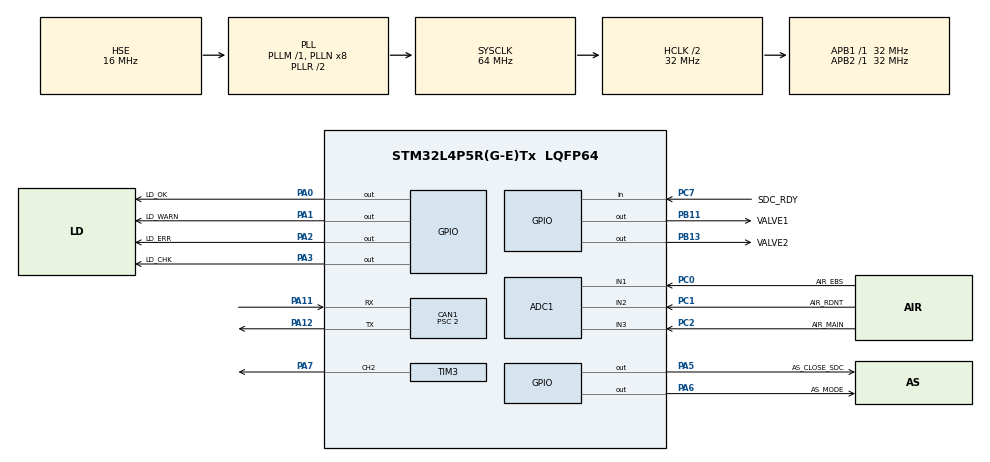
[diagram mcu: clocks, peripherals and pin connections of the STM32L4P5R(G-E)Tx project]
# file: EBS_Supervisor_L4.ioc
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ADC1.Channel-0\#ChannelRegularConversion=ADC_CHANNEL_1
ADC1.Channel-1\#ChannelRegularConversion=ADC_CHANNEL_2
ADC1.Channel-2\#ChannelRegularConversion=ADC_CHANNEL_3
ADC1.ContinuousConvMode=ENABLE
ADC1.DMAContinuousRequests=ENABLE
ADC1.EOCSelection=ADC_EOC_SEQ_CONV
ADC1.NbrOfConversion=3
ADC1.NbrOfConversionFlag=1
ADC1.OffsetNumber-0\#ChannelRegularConversion=ADC_OFFSET_NONE
ADC1.OffsetNumber-1\#ChannelRegularConversion=ADC_OFFSET_NONE
ADC1.OffsetNumber-2\#ChannelRegularConversion=ADC_OFFSET_NONE
ADC1.Overrun=ADC_OVR_DATA_OVERWRITTEN
ADC1.Rank-0\#ChannelRegularConversion=1
ADC1.Rank-1\#ChannelRegularConversion=2
ADC1.Rank-2\#ChannelRegularConversion=3
ADC1.SamplingTime-0\#ChannelRegularConversion=ADC_SAMPLETIME_640CYCLES_5
ADC1.SamplingTime-1\#ChannelRegularConversion=ADC_SAMPLETIME_640CYCLES_5
ADC1.SamplingTime-2\#ChannelRegularConversion=ADC_SAMPLETIME_640CYCLES_5
ADC1.master=1
CAN1.BS1=CAN_BS1_13TQ
CAN1.BS2=CAN_BS2_2TQ
CAN1.CalculateBaudRate=1000000
CAN1.CalculateTimeBit=1000
CAN1.CalculateTimeQuantum=62.5
CAN1.Mode=CAN_MODE_NORMAL
CAN1.Prescaler=2
Dma.ADC1.0.Direction=DMA_PERIPH_TO_MEMORY
Dma.ADC1.0.EventEnable=DISABLE
Dma.ADC1.0.Instance=DMA1_Channel1
Dma.ADC1.0.MemDataAlignment=DMA_MDATAALIGN_HALFWORD
Dma.ADC1.0.MemInc=DMA_MINC_ENABLE
Dma.ADC1.0.Mode=DMA_CIRCULAR
Dma.ADC1.0.PeriphDataAlignment=DMA_PDATAALIGN_HALFWORD
Dma.ADC1.0.PeriphInc=DMA_PINC_DISABLE
Dma.ADC1.0.Polarity=HAL_DMAMUX_REQ_GEN_RISING
Dma.ADC1.0.Priority=DMA_PRIORITY_MEDIUM
Dma.ADC1.0.RequestNumber=1
Dma.ADC1.0.SignalID=NONE
Dma.ADC1.0.SyncEnable=DISABLE
Dma.ADC1.0.SyncPolarity=HAL_DMAMUX_SYNC_NO_EVENT
Dma.ADC1.0.SyncRequestNumber=1
Dma.ADC1.0.SyncSignalID=NONE
Dma.Request0=ADC1
Mcu.Family=STM32L4
Mcu.Name=STM32L4P5R(G-E)Tx
Mcu.Package=LQFP64
NVIC.ADC1_2_IRQn=true\:1\:0\:true\:false\:true\:true\:true\:true
NVIC.CAN1_RX0_IRQn=true\:0\:0\:false\:false\:true\:true\:true\:true
NVIC.CAN1_RX1_IRQn=true\:0\:0\:false\:false\:true\:true\:true\:true
NVIC.DMA1_Channel1_IRQn=true\:2\:0\:true\:false\:true\:false\:true\:true
NVIC.PriorityGroup=NVIC_PRIORITYGROUP_4
PA0.GPIO_Label=LD_OK
PA0.Signal=GPIO_Output
PA1.GPIO_Label=LD_WARN
PA1.Signal=GPIO_Output
PA11.Mode=CAN_Activate
PA11.Signal=CAN1_RX
PA12.Mode=CAN_Activate
PA12.Signal=CAN1_TX
PA13\ (JTMS/SWDIO).Mode=Serial_Wire
PA13\ (JTMS/SWDIO).Signal=SYS_JTMS-SWDIO
PA14\ (JTCK/SWCLK).Mode=Serial_Wire
PA14\ (JTCK/SWCLK).Signal=SYS_JTCK-SWCLK
PA2.GPIO_Label=LD_ERR
PA2.Signal=GPIO_Output
PA3.GPIO_Label=LD_CHK
PA3.Signal=GPIO_Output
PA5.GPIO_Label=AS_CLOSE_SDC
PA5.Signal=GPIO_Output
PA6.GPIO_Label=AS_MODE
PA6.Signal=GPIO_Output
PA7.Signal=S_TIM3_CH2
PB11.GPIO_Label=VALVE1
PB11.Signal=GPIO_Output
PB13.GPIO_Label=VALVE2
PB13.Signal=GPIO_Output
PC0.GPIO_Label=AIR_EBS
PC0.Signal=ADCx_IN1
PC1.GPIO_Label=AIR_RDNT
PC1.Signal=ADCx_IN2
PC2.GPIO_Label=AIR_MAIN
PC2.Signal=ADCx_IN3
PC7.GPIO_Label=SDC_RDY
PC7.Signal=GPIO_Input
PH0-OSC_IN\ (PH0).Mode=HSE-External-Oscillator
PH0-OSC_IN\ (PH0).Signal=RCC_OSC_IN
PH1-OSC_OUT\ (PH1).Mode=HSE-External-Oscillator
PH1-OSC_OUT\ (PH1).Signal=RCC_OSC_OUT
ProjectManager.HeapSize=0x200
ProjectManager.StackSize=0x400
ProjectManager.TargetToolchain=CMake
RCC.ADCFreq_Value=64000000
RCC.AHBCLKDivider=RCC_SYSCLK_DIV2
RCC.AHBFreq_Value=32000000
RCC.APB1Freq_Value=32000000
RCC.APB1TimFreq_Value=32000000
RCC.APB2Freq_Value=32000000
RCC.APB2TimFreq_Value=32000000
RCC.CortexFreq_Value=32000000
RCC.HCLKFreq_Value=32000000
RCC.HSE_VALUE=16000000
RCC.HSI48_VALUE=48000000
RCC.HSI_VALUE=16000000
RCC.LSE_VALUE=32768
RCC.MSI_VALUE=4000000
RCC.PLLSourceVirtual=RCC_PLLSOURCE_HSE
RCC.SYSCLKFreq_VALUE=64000000
RCC.SYSCLKSource=RCC_SYSCLKSOURCE_PLLCLK
RCC.USBFreq_Value=64000000
RCC.VCOOutputFreq_Value=128000000
SH.ADCx_IN1.0=ADC1_IN1,IN1-Single-Ended
SH.ADCx_IN2.0=ADC1_IN2,IN2-Single-Ended
SH.ADCx_IN3.0=ADC1_IN3,IN3-Single-Ended
SH.S_TIM3_CH2.0=TIM3_CH2,PWM Generation2 CH2
TIM3.Channel-PWM\ Generation2\ CH2=TIM_CHANNEL_2
TIM3.Period=4000
TIM3.Prescaler=1022
TIM3.Pulse-PWM\ Generation2\ CH2=2000
VP_TIM3_VS_ClockSourceINT.Mode=Internal
board=custom

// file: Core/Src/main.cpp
/* USER CODE BEGIN Header */
/**
 ******************************************************************************
 * @file           : main.c
 * @brief          : Main program body
 ******************************************************************************
 * @attention
 *
 * Copyright (c) 2023 STMicroelectronics.
 * All rights reserved.
 *
 * This software is licensed under terms that can be found in the LICENSE file
 * in the root directory of this software component.
 * If no LICENSE file comes with this software, it is provided AS-IS.
 *
 ******************************************************************************
 */
/* USER CODE END Header */
/* Includes
 * ------------------------------------------------------------------*/
#include "main.h"
#include "adc.h"
#include "can.h"
#include "dma.h"
#include "gpio.h"
#include "tim.h"

/* Private includes
 * ----------------------------------------------------------*/
/* USER CODE BEGIN Includes */
#include "PUTM_CAN_M.h"
#include "PUTM_EV_CAN_LIBRARY/include/can_driver.hpp"
#include "gpioElements.hpp"
#include "timer.hpp"

#include "math.h"
/* USER CODE END Includes */

/* Private typedef
 * -----------------------------------------------------------*/

/* Private define
 * ------------------------------------------------------------*/
/* USER CODE BEGIN PD */
#define USE_TEST 1

#define USE_TEST_POINTS 1

/* USER CODE END PD */

/* Private macro
 * -------------------------------------------------------------*/
/* USER CODE BEGIN PM */
enum Ebs_state {
  EBS_INITIAL_CHECKUP,
  EBS_CONTINOUS_MONITORING,
  EBS_STOP_MONITORING,
};

namespace config {
constexpr float brake_lower_bound = 6.5f;
constexpr float brake_upper_bound = 8.f;
constexpr float brake_press_deviation = 0.01f;
constexpr float can_brake_offset = -0.01f;
constexpr float press_tf_coef = 1.f;
constexpr float can_brake_lower_bound = 1.f;
constexpr float can_engaged_brakes_upper_bound = 90.f;
constexpr float can_engaged_brakes_lower_bound = 60.f;

constexpr uint32_t sdc_settle_timeout = 100;
constexpr uint32_t valve_settle_delay = 200;
constexpr uint32_t valve_settle_timeout = 200;

constexpr uint16_t can_timeout = 100;

constexpr uint32_t adc_count = 3;
}; // namespace config

struct Brake_data_can {
  uint16_t front;
  uint16_t rear;
  bool status;
} volatile brake_data_can;

struct Air_pressure_data_dma {
  uint16_t ebs;
  uint16_t redundant;
  uint16_t main;
} volatile air_pressure_data_dma;

struct TransferFcn {
  float a;
  float b;
  float solve(float x) { return a * x + b; }
};

class Brakes_data {
private:
  // driver_input.break_pressure* returns in kP and we use Bars, so times 0.01
  float convert_raw_data(uint16_t raw_data) {
    return static_cast<float>(raw_data) * 0.01f + config::can_brake_offset;
  }

public:
  float front;
  float rear;

  void update(volatile Brake_data_can &brake_data) {
    this->front = convert_raw_data(brake_data.front);
    this->rear = convert_raw_data(brake_data.rear);
  }

  bool check_buildup(float air_ebs) {
    if (this->front < config::press_tf_coef * air_ebs)
      return true;
    if (this->rear < config::press_tf_coef * air_ebs)
      return true;
    return false;
  }

  bool check_holdup_front(float air_ebs) {
    if (this->front > config::press_tf_coef * air_ebs &&
        this->rear < config::can_brake_lower_bound)
      return false;
    else
      return true;
  }

  bool check_holdup_rear(float air_ebs) {
    if (this->rear > config::press_tf_coef * air_ebs &&
        this->front < config::can_brake_lower_bound)
      return false;
    else
      return true;
  }

  bool check_engaged() {
    if (this->front > config::can_engaged_brakes_lower_bound &&
        this->front<config::can_engaged_brakes_upper_bound &&this->rear>
            config::can_engaged_brakes_lower_bound &&
        this->rear < config::can_engaged_brakes_upper_bound)
      return false;
    else
      return true;
  }
};

class Air_pressure_data {
private:
  // Transfer Function for Air pressure ADC readings:
  TransferFcn air_transferFcn = {3.227f, 620.0f};

public:
  float ebs;
  float redundant;
  float main;

  void update(volatile uint16_t air_pressure_data[config::adc_count]) {
    this->ebs = air_transferFcn.solve(static_cast<float>(air_pressure_data[0]));
    this->redundant =
        air_transferFcn.solve(static_cast<float>(air_pressure_data[1]));
    this->main =
        air_transferFcn.solve(static_cast<float>(air_pressure_data[2]));
  }

  bool check() {
    if (std::abs(this->ebs - this->redundant) > config::brake_press_deviation)
      return true;
    if (config::brake_lower_bound >= this->ebs ||
        this->ebs >= config::brake_upper_bound)
      return true;
    if (config::brake_lower_bound >= this->redundant ||
        this->redundant >= config::brake_upper_bound)
      return true;
    return false;
  }
};

/* USER CODE END PM */

/* Private variables
 * ---------------------------------------------------------*/

/* USER CODE BEGIN PV */

volatile uint16_t adc_dma_buffer[3];

/* GPIO Section */
GpioOutElement led_ok(LD_OK_GPIO_Port, LD_OK_Pin);
GpioOutElement led_warn(LD_WARN_GPIO_Port, LD_WARN_Pin);
GpioOutElement led_err(LD_ERR_GPIO_Port, LD_ERR_Pin);
GpioOutElement led_chk(LD_CHK_GPIO_Port, LD_CHK_Pin);

GpioOutElement as_close_sdc(AS_CLOSE_SDC_GPIO_Port, AS_CLOSE_SDC_Pin);
GpioOutElement as_mode(AS_MODE_GPIO_Port, AS_MODE_Pin);

GpioOutElement valve1(VALVE1_GPIO_Port, VALVE1_Pin);
GpioOutElement valve2(VALVE2_GPIO_Port, VALVE2_Pin);

GpioInElement sdc_ready(SDC_RDY_GPIO_Port, SDC_RDY_Pin);

/* Tests */
/* USER CODE END PV */

/* Private function prototypes
 * -----------------------------------------------*/
void SystemClock_Config(void);

/* USER CODE BEGIN PFP */
void startTogglingWatchdog();
void stopTogglingWatchdog();
void can_filter_config(CAN_HandleTypeDef *hcan);
void can_driver_input_cb(const PUTM_CAN_M_driver_input_t &driver_input);
void ebs_error();

/* USER CODE END PFP */

/* Private user code
 * ---------------------------------------------------------*/

int main(void) {

  /* MCU
   * Configuration--------------------------------------------------------*/

  /* Reset of all peripherals, Initializes the Flash interface and the
   * Systick.
   */
  HAL_Init();

  /* Configure the system clock */
  SystemClock_Config();

  /* Initialize all configured peripherals */
  MX_GPIO_Init();
  MX_DMA_Init();
  MX_TIM3_Init();
  MX_CAN1_Init();
  MX_ADC1_Init();
  /* USER CODE BEGIN 2 */
  Ebs_state ebs_state = EBS_INITIAL_CHECKUP;
  bool ebs_break = false;

  Brakes_data brakes;
  Air_pressure_data air_pressure;

  // Initialize CAN
  putm_ev_can::CanDriver can_m;
  can_filter_config(&hcan1);
  if (!can_m.Init(&hcan1)) {
    ebs_state = EBS_STOP_MONITORING;
  } else {
    can_m.RegisterCallback<PUTM_CAN_M_driver_input_t>(
        PUTM_CAN_M_DRIVER_INPUT_FRAME_ID, can_driver_input_cb);
  }

  HAL_ADCEx_Calibration_Start(&hadc1, ADC_SINGLE_ENDED);
  HAL_ADC_Start_DMA(&hadc1, (uint32_t *)adc_dma_buffer, config::adc_count);

  Timer sdc_timeout_timer(config::sdc_settle_timeout);
  Timer valve_timeout_timer(config::valve_settle_timeout);
  Timer can_timeout_timer(config::can_timeout);

  /* USER CODE END 2 */

  /* Infinite loop */
  /* USER CODE BEGIN WHILE */

  while (true) {
    switch (ebs_state) {

    case (EBS_INITIAL_CHECKUP): {
      // Turn on checkup led
      led_warn.activate();

      // Check if SDC is working
      startTogglingWatchdog();
      sdc_timeout_timer.restart();
      while (!sdc_ready.isActive()) {
        if (ebs_break = sdc_timeout_timer.checkIfTimedOutThenReset()) {
          ebs_error();
          break;
        }
      }
      if (ebs_break) {
        ebs_state = EBS_STOP_MONITORING;
        break;
      }
      stopTogglingWatchdog();
      sdc_timeout_timer.restart();
      while (sdc_ready.isActive()) {
        if (ebs_break = sdc_timeout_timer.checkIfTimedOutThenReset()) {
          ebs_error();
          break;
        }
      }
      if (ebs_break) {
        ebs_state = EBS_STOP_MONITORING;
        break;
      }
      startTogglingWatchdog();

      // Check that the EBS energy storage is filled
      air_pressure.update(adc_dma_buffer);
      if (air_pressure.check()) {
        ebs_error();
        ebs_state = EBS_STOP_MONITORING;
        break;
      }

      // Check CAN
      can_timeout_timer.restart();
      while (!brake_data_can.status) {
        if (ebs_break = can_timeout_timer.checkIfTimedOutThenReset()) {
          ebs_error();
          break;
        }
      }
      if (ebs_break) {
        ebs_state = EBS_STOP_MONITORING;
        break;
      }
      brakes.update(brake_data_can);
      brake_data_can.status = false;

      // Check that the brake pressure is built up correctly
      air_pressure.update(adc_dma_buffer);
      if (brakes.check_buildup(air_pressure.ebs)) {
        ebs_error();
        ebs_state = EBS_STOP_MONITORING;
        break;
      }

      // // Enable TS
      as_close_sdc.activate();

      // Wait for TS
      // Add checking TS from external signal/CAN

      // Check that the brake pressure is still built
      // up correctly #1
      valve1.activate();
      valve2.deactivate();
      HAL_Delay(config::valve_settle_delay);
      valve_timeout_timer.restart();
      while (brakes.check_holdup_front(air_pressure.ebs)) {
        if (ebs_break = valve_timeout_timer.checkIfTimedOutThenReset()) {
          ebs_error();
          break;
        }

        can_timeout_timer.restart();
        while (!brake_data_can.status) {
          if (ebs_break = can_timeout_timer.checkIfTimedOutThenReset()) {
            ebs_error();
            break;
          }
        }
        if (ebs_break) {
          break;
        }
        brakes.update(brake_data_can);
        brake_data_can.status = false;
      }
      if (ebs_break) {
        ebs_state = EBS_STOP_MONITORING;
        break;
      }

      // Check that the brake pressure is still built
      // up correctly #2
      valve1.deactivate();
      valve2.activate();
      HAL_Delay(config::valve_settle_delay);
      valve_timeout_timer.restart();
      while (brakes.check_holdup_rear(air_pressure.ebs)) {
        if (ebs_break = valve_timeout_timer.checkIfTimedOutThenReset()) {
          ebs_error();
          break;
        }

        can_timeout_timer.restart();
        while (!brake_data_can.status) {
          if (ebs_break = can_timeout_timer.checkIfTimedOutThenReset()) {
            ebs_error();
            break;
          }
        }
        if (ebs_break) {
          break;
        }
        brakes.update(brake_data_can);
        brake_data_can.status = false;
      }
      if (ebs_break) {
        ebs_state = EBS_STOP_MONITORING;
        break;
      }
      valve1.activate();
      valve2.activate();

      // Start continous monitoring
      led_warn.deactivate();
      led_ok.activate();
      ebs_state = EBS_CONTINOUS_MONITORING;
      break;
    }

    case EBS_CONTINOUS_MONITORING: {

      // Monitor the storage of brake energy (air pressure)
      air_pressure.update(adc_dma_buffer);
      if (air_pressure.check()) {
        ebs_error();
        ebs_state = EBS_STOP_MONITORING;
        break;
      }
      // // Convert brake pressure data from if received from CAN
      // if (brake_data_can.status == true) {
      //   brakes.update(brake_data_can);
      //   brake_data_can.status = false;
      // }

      // Check RES state CAN OK?
      // AS OK?

      // // Check SDC
      // if (!sdc_ready.isActive()) {
      //   HAL_Delay(config::valve_settle_delay);
      //   valve_timeout_timer.restart();
      //   while (brakes.check_engaged()) {
      //     if (ebs_break = valve_timeout_timer.checkIfTimedOutThenReset()) {
      //       ebs_error();
      //       break;
      //     }

      //     can_timeout_timer.restart();
      //     while (!brake_data_can.status) {
      //       if (ebs_break = can_timeout_timer.checkIfTimedOutThenReset()) {
      //         ebs_error();
      //         break;
      //       }
      //     }
      //     if (ebs_break)
      //       break;

      //     brakes.update(brake_data_can);
      //     brake_data_can.status = false;
      //   }
      //   if (ebs_break) {
      //     ebs_state = EBS_STOP_MONITORING;
      //     break;
      //   }
      // }

      break;
    }
    case EBS_STOP_MONITORING: {
      if (sdc_ready.isActive()) {
        led_err.deactivate();
        ebs_break = false;
        ebs_state = EBS_INITIAL_CHECKUP;
        // Add proper ASB reset
      }
      break;
    }
    }
    /* USER CODE END WHILE */

  }
}
void SystemClock_Config(void) {
  RCC_OscInitTypeDef RCC_OscInitStruct = {0};
  RCC_ClkInitTypeDef RCC_ClkInitStruct = {0};

  /** Configure the main internal regulator output voltage
   */
  if (HAL_PWREx_ControlVoltageScaling(PWR_REGULATOR_VOLTAGE_SCALE1) != HAL_OK) {
    Error_Handler();
  }

  /** Initializes the RCC Oscillators according to the specified parameters
   * in the RCC_OscInitTypeDef structure.
   */
  RCC_OscInitStruct.OscillatorType = RCC_OSCILLATORTYPE_HSE;
  RCC_OscInitStruct.HSEState = RCC_HSE_ON;
  RCC_OscInitStruct.PLL.PLLState = RCC_PLL_ON;
  RCC_OscInitStruct.PLL.PLLSource = RCC_PLLSOURCE_HSE;
  RCC_OscInitStruct.PLL.PLLM = 1;
  RCC_OscInitStruct.PLL.PLLN = 8;
  RCC_OscInitStruct.PLL.PLLP = RCC_PLLP_DIV2;
  RCC_OscInitStruct.PLL.PLLQ = RCC_PLLQ_DIV2;
  RCC_OscInitStruct.PLL.PLLR = RCC_PLLR_DIV2;
  if (HAL_RCC_OscConfig(&RCC_OscInitStruct) != HAL_OK) {
    Error_Handler();
  }

  /** Initializes the CPU, AHB and APB buses clocks
   */
  RCC_ClkInitStruct.ClockType = RCC_CLOCKTYPE_HCLK | RCC_CLOCKTYPE_SYSCLK |
                                RCC_CLOCKTYPE_PCLK1 | RCC_CLOCKTYPE_PCLK2;
  RCC_ClkInitStruct.SYSCLKSource = RCC_SYSCLKSOURCE_PLLCLK;
  RCC_ClkInitStruct.AHBCLKDivider = RCC_SYSCLK_DIV2;
  RCC_ClkInitStruct.APB1CLKDivider = RCC_HCLK_DIV1;
  RCC_ClkInitStruct.APB2CLKDivider = RCC_HCLK_DIV1;

  if (HAL_RCC_ClockConfig(&RCC_ClkInitStruct, FLASH_LATENCY_1) != HAL_OK) {
    Error_Handler();
  }
}

/* USER CODE BEGIN 4 */

void can_driver_input_cb(const PUTM_CAN_M_driver_input_t &driver_input) {
  brake_data_can.front = driver_input.brake_pressure_front;
  brake_data_can.rear = driver_input.brake_pressure_rear;
  brake_data_can.status = true;
}

void can_filter_config(CAN_HandleTypeDef *hcan) {
  constexpr static CAN_FilterTypeDef sFilterConfig{
      .FilterIdHigh = 0x0000,
      .FilterIdLow = 0x0000,
      .FilterMaskIdHigh = 0x0000,
      .FilterMaskIdLow = 0x0000,
      .FilterFIFOAssignment = CAN_RX_FIFO0,
      .FilterBank = 0,
      .FilterMode = CAN_FILTERMODE_IDMASK,
      .FilterScale = CAN_FILTERSCALE_32BIT,
      .FilterActivation = ENABLE,
      .SlaveStartFilterBank = 14};

  if (HAL_CAN_ConfigFilter(hcan, &sFilterConfig) != HAL_OK) {
    Error_Handler();
  }
}

void ebs_error() {
  led_ok.deactivate();
  led_warn.deactivate();
  led_err.activate();
  valve1.deactivate();
  valve2.deactivate();
  as_close_sdc.deactivate();
  return;
}

void startTogglingWatchdog() { HAL_TIM_PWM_Start(&htim3, TIM_CHANNEL_2); }

void stopTogglingWatchdog() { HAL_TIM_PWM_Stop(&htim3, TIM_CHANNEL_2); }

/* USER CODE END 4 */

void Error_Handler(void) {
  /* USER CODE BEGIN Error_Handler_Debug */
  /* User can add his own implementation to report the HAL error return
   * state
   */
  __disable_irq();
  while (1) {
  }
  /* USER CODE END Error_Handler_Debug */
}

#ifdef USE_FULL_ASSERT
/**
 * @brief  Reports the name of the source file and the source line number
 *         where the assert_param error has occurred.
 * @param  file: pointer to the source file name
 * @param  line: assert_param error line source number
 * @retval None
 */
void assert_failed(uint8_t *file, uint32_t line) {
  /* USER CODE BEGIN 6 */
  /* User can add his own implementation to report the file name and line
   number, ex: printf("Wrong parameters value: file %s on line %d\r\n",
   file, line) */
  /* USER CODE END 6 */
}
#endif /* USE_FULL_ASSERT */
